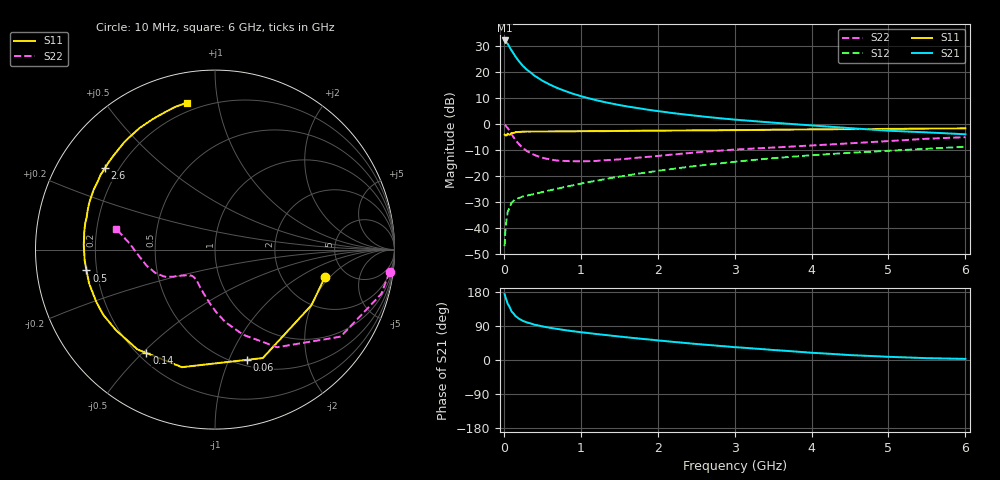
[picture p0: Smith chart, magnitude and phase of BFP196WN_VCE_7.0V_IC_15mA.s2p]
! Infineon Technologies  Discrete & RF Semiconductors
! BFP196WN
! VCE =  7.0 V,  IC =  15 mA
! Common Emitter S-Parameters:  Jan 2017
# GHz  S  MA  R  50
!  f  S11  S21  S12  S22
! GHz  MAG  ANG  MAG  ANG  MAG  ANG  MAG  ANG
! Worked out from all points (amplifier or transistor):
!   77 points, 10 MHz to 6 GHz, reference 50 ohm
!   highest |S21| = 32.3 dB at 10 MHz (marker M1)
!   |S21| within 3 dB of that: start of sweep to 82.85 MHz
!   unconditionally stable (mu >= 1): 1.031 GHz to 2.667 GHz
!   at 130 MHz: K = 0.25, MSG = 28.2 dB, |S12| = -29.4 dB
!   at 2.2 GHz: K = 1.04, MAG = 9.5 dB, |S12| = -17.2 dB
!   at 6 GHz: K = 0.87, MSG = 2.4 dB, |S12| = -8.7 dB
!   S11 on the Smith chart (normalised r, x): 10 MHz: 3.46, -1.77; 60 MHz: 0.56, -1.16; 140 MHz: 0.23, -0.51; 500 MHz: 0.16, -0.08; 2.6 GHz: 0.15, +0.32; 6 GHz: 0.15, +0.82
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0.01  0.6314 -14.1  41.02 173.9  0.0045 82.1  0.9803 -7.3
0.02  0.6201 -30.0  39.16 166.3  0.0091 77.7  0.9591 -14.9
0.05  0.6603 -66.2  35.4 148.3  0.0202 62.4  0.8517 -34.7
0.06  0.6391 -74.0  33.32 145.2  0.0222 58.7  0.8018 -38.3
0.1  0.6805 -105.7  26.39 128.1  0.0307 49.0  0.6449 -57.5
0.14  0.6914 -123.6  21.38 119.1  0.0351 42.2  0.5258 -68.3
0.15  0.7044 -127.9  20.24 116.2  0.0363 40.8  0.4998 -71.7
0.2  0.7115 -140.9  16.02 108.5  0.0382 38.2  0.4078 -81.9
0.25  0.7208 -149.7  13.2 103.1  0.041 37.4  0.3482 -88.9
0.3  0.7229 -156.1  11.2 99.1  0.0424 37.3  0.3037 -95.0
0.4  0.7262 -164.8  8.56 93.0  0.0454 40.0  0.2552 -103.9
0.5  0.7256 -170.8  6.895 88.7  0.0495 42.6  0.2272 -111.2
0.7  0.7289 -178.9  4.952 81.8  0.0577 47.2  0.1997 -120.3
0.9  0.732 174.9  3.86 75.9  0.0667 51.6  0.1943 -126.6
1.1  0.7363 170.2  3.172 71.1  0.077 55.1  0.1946 -131.1
1.5  0.7436 162.2  2.344 62.0  0.0979 58.4  0.2103 -137.7
2.1  0.7545 151.6  1.716 49.9  0.1327 60.1  0.2536 -144.4
2.6  0.7627 143.5  1.403 40.6  0.1639 59.2  0.296 -149.2
3.1  0.7725 135.7  1.196 32.6  0.1956 57.0  0.3314 -154.3
4.1  0.7982 120.5  0.927 18.0  0.2587 50.6  0.3977 -168.7
5.1  0.8164 109.1  0.74 7.7  0.3141 43.2  0.4844 175.1
6  0.8339 100.7  0.641 2.9  0.369 36.8  0.5651 168.0
